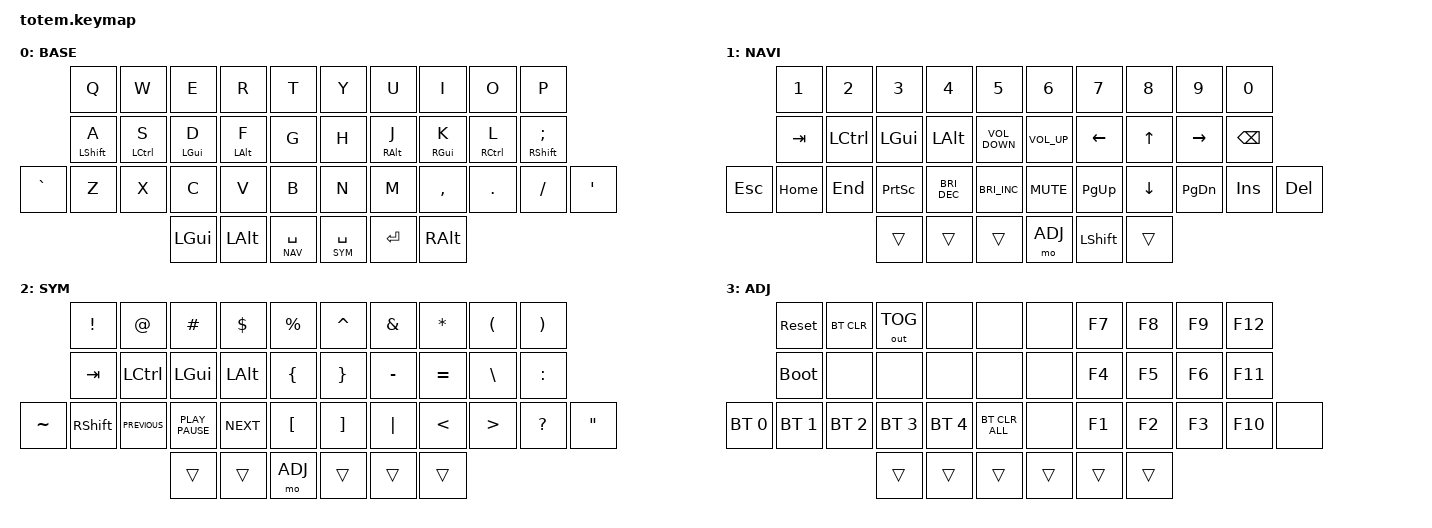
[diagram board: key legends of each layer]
//
//                                                        ▀▀▀▀▀     ▀▀▀▀▀          ▀▀█▀▀
//                                                        ▄▀▀▀▄  ▄  ▄▀▀▀▄  ▄  ▄▀▀▀▄  █  ▄▀▀▀▄
//                                                        █   █  █  █   █  █  █   █  █  █   █
//                                                         ▀▀▀   █   ▀▀▀   █   ▀▀▀   ▀   ▀▀▀
//                                                               █      ▄▄▄█▄▄▄    █   █  
//                                                               ▀      █  █  █     █▄█
//                                                             ▀▀▀▀▀    █  █  █      ▀
//                                                                      ▀  ▀  ▀
//
// ▄▄▄▄▄▄▄▄▄▄▄▄▄▄▄▄▄▄▄▄▄▄▄▄▄▄▄▄▄▄▄▄▄▄▄▄▄▄▄▄▄▄▄▄▄▄▄▄▄▄▄▄▄▄▄▄▄▄▄▄▄▄▄▄▄▄▄▄▄▄▄▄▄▄▄▄▄▄▄▄▄▄▄▄▄▄▄▄▄▄▄▄▄▄▄▄▄▄▄▄▄▄▄▄▄▄▄▄▄▄▄▄▄▄▄▄▄▄▄▄▄▄▄▄▄▄▄▄▄▄▄▄▄▄▄▄▄▄▄▄▄▄▄▄▄▄▄▄▄

#include <behaviors.dtsi>
#include <dt-bindings/zmk/bt.h>
#include <dt-bindings/zmk/keys.h>
#include <dt-bindings/zmk/outputs.h>

#define BASE 0
#define NAV  1
#define SYM  2
#define ADJ  3

&mt {
    quick-tap-ms = <100>;
    global-quick-tap;
    flavor = "tap-preferred";
    tapping-term-ms = <170>;
};

/ {
    combos {
        compatible = "zmk,combos";

        combo_esc {
            timeout-ms = <50>;
            key-positions = <0 1>;
            bindings = <&kp ESC>;
        };

        combo_delete {
            bindings = <&kp DEL>;
            key-positions = <9 31>;
        };

        combo_tab {
            bindings = <&kp TAB>;
            key-positions = <10 11>;
        };

        combo_backspace {
            bindings = <&kp BACKSPACE>;
            key-positions = <8 9>;
        };
    };

    keymap {
        compatible = "zmk,keymap";

        // ▄▄▄▄▄▄▄▄▄▄▄▄▄▄▄▄▄▄▄▄▄▄▄▄▄▄▄▄▄▄▄▄▄▄▄▄▄▄▄▄▄▄▄▄▄▄▄▄▄▄▄▄▄▄▄▄▄▄▄▄▄▄▄▄▄▄▄▄▄▄▄▄▄▄▄▄▄▄▄▄▄▄▄▄▄▄▄▄▄▄▄▄▄▄▄▄▄▄▄▄▄▄▄▄▄▄▄▄▄▄▄▄▄▄▄▄▄▄▄▄▄▄▄▄▄▄▄▄▄▄▄▄▄▄▄▄▄▄▄▄▄▄▄▄▄▄▄▄▄

        base_layer {
            // ┏━━━━━━━━━━━━━━━━━━━━━━━━━━━━━━━━━━━━━━━┓

            label = "BASE";

            // ┗━━━━━━━━━━━━━━━━━━━━━━━━━━━━━━━━━━━━━━━┛
            //             ┏━━━━━━━━━━━┳━━━━━━━━━━━┳━━━━━━━━━━━┳━━━━━━━━━━━┳━━━━━━━━━━━┓   ┏━━━━━━━━━━━┳━━━━━━━━━━━┳━━━━━━━━━━━┳━━━━━━━━━━━┳━━━━━━━━━━━┓
            //             ┃     Q     ┃     W     ┃     F     ┃     P     ┃     G     ┃   ┃     J     ┃     L     ┃     U     ┃     Y     ┃     ;     ┃
            //             ┣━━━━━━━━━━━╋━━━━━━━━━━━╋━━━━━━━━━━━╋━━━━━━━━━━━╋━━━━━━━━━━━┫   ┣━━━━━━━━━━━╋━━━━━━━━━━━╋━━━━━━━━━━━╋━━━━━━━━━━━╋━━━━━━━━━━━┫
            //             ┃     A     ┃     R     ┃     S     ┃     T     ┃     D     ┃   ┃     H     ┃     N     ┃     E     ┃     I     ┃     O     ┃
            // ┏━━━━━━━━━━━╋━━━━━━━━━━━╋━━━━━━━━━━━╋━━━━━━━━━━━╋━━━━━━━━━━━╋━━━━━━━━━━━┫   ┣━━━━━━━━━━━╋━━━━━━━━━━━╋━━━━━━━━━━━╋━━━━━━━━━━━╋━━━━━━━━━━━╋━━━━━━━━━━━┓
            // ┃           ┃     Z     ┃     X     ┃     C     ┃     V     ┃     B     ┃   ┃     K     ┃     M     ┃     ,     ┃     .     ┃     /     ┃           ┃
            // ┗━━━━━━━━━━━┻━━━━━━━━━━━┻━━━━━━━━━━━╋━━━━━━━━━━━╋━━━━━━━━━━━╋━━━━━━━━━━━┫   ┣━━━━━━━━━━━╋━━━━━━━━━━━╋━━━━━━━━━━━╋━━━━━━━━━━━┻━━━━━━━━━━━┻━━━━━━━━━━━┛
            //                                     ┃           ┃    TAB    ┃    SPC    ┃   ┃   ENTER   ┃   BSPC    ┃           ┃
            //                                     ┗━━━━━━━━━━━┻━━━━━━━━━━━┻━━━━━━━━━━━┛   ┗━━━━━━━━━━━┻━━━━━━━━━━━┻━━━━━━━━━━━┛

            bindings = <
           &kp Q             &kp W               &kp E           &kp R           &kp T            &kp Y          &kp U            &kp I            &kp O                &kp P
           &mt LEFT_SHIFT A  &mt LEFT_CONTROL S  &mt LEFT_GUI D  &mt LEFT_ALT F  &kp G            &kp H          &mt RIGHT_ALT J  &mt RIGHT_GUI K  &mt RIGHT_CONTROL L  &mt RSHIFT SEMI
&kp GRAVE  &kp Z             &kp X               &kp C           &kp V           &kp B            &kp N          &kp M            &kp COMMA        &kp DOT              &kp SLASH        &kp APOS
                                                 &kp LEFT_GUI    &kp LEFT_ALT    &lt NAV SPACE    &lt SYM SPACE  &kp ENTER        &kp RIGHT_ALT
            >;
        };

        // ▄▄▄▄▄▄▄▄▄▄▄▄▄▄▄▄▄▄▄▄▄▄▄▄▄▄▄▄▄▄▄▄▄▄▄▄▄▄▄▄▄▄▄▄▄▄▄▄▄▄▄▄▄▄▄▄▄▄▄▄▄▄▄▄▄▄▄▄▄▄▄▄▄▄▄▄▄▄▄▄▄▄▄▄▄▄▄▄▄▄▄▄▄▄▄▄▄▄▄▄▄▄▄▄▄▄▄▄▄▄▄▄▄▄▄▄▄▄▄▄▄▄▄▄▄▄▄▄▄▄▄▄▄▄▄▄▄▄▄▄▄▄▄▄▄▄▄▄▄

        nav_layer {
            // ┏━━━━━━━━━━━━━━━━━━━━━━━━━━━━━━━━━━━━━━━┓

            label = "NAVI";

            // ┗━━━━━━━━━━━━━━━━━━━━━━━━━━━━━━━━━━━━━━━┛
            //             ┏━━━━━━━━━━━┳━━━━━━━━━━━┳━━━━━━━━━━━┳━━━━━━━━━━━┳━━━━━━━━━━━┓   ┏━━━━━━━━━━━┳━━━━━━━━━━━┳━━━━━━━━━━━┳━━━━━━━━━━━┳━━━━━━━━━━━┓
            //             ┃           ┃           ┃     UP    ┃           ┃     {     ┃   ┃     }     ┃     7     ┃     8     ┃     9     ┃     +     ┃
            //             ┣━━━━━━━━━━━╋━━━━━━━━━━━╋━━━━━━━━━━━╋━━━━━━━━━━━╋━━━━━━━━━━━┫   ┣━━━━━━━━━━━╋━━━━━━━━━━━╋━━━━━━━━━━━╋━━━━━━━━━━━╋━━━━━━━━━━━┫
            //             ┃   SHIFT   ┃   LEFT    ┃    DOWN   ┃   RIGHT   ┃     [     ┃   ┃     ]     ┃     4     ┃     5     ┃     6     ┃     -     ┃
            // ┏━━━━━━━━━━━╋━━━━━━━━━━━╋━━━━━━━━━━━╋━━━━━━━━━━━╋━━━━━━━━━━━╋━━━━━━━━━━━┫   ┣━━━━━━━━━━━╋━━━━━━━━━━━╋━━━━━━━━━━━╋━━━━━━━━━━━╋━━━━━━━━━━━╋━━━━━━━━━━━┓
            // ┃           ┃           ┃   P UP    ┃  C LOCK   ┃  P DOWN   ┃     (     ┃   ┃     )     ┃     1     ┃     2     ┃     3     ┃     *     ┃           ┃
            // ┗━━━━━━━━━━━┻━━━━━━━━━━━┻━━━━━━━━━━━╋━━━━━━━━━━━╋━━━━━━━━━━━╋━━━━━━━━━━━┫   ┣━━━━━━━━━━━╋━━━━━━━━━━━╋━━━━━━━━━━━╋━━━━━━━━━━━┻━━━━━━━━━━━┻━━━━━━━━━━━┛
            //                                     ┃           ┃    TAB    ┃    SPC    ┃   ┃    DEL    ┃     0     ┃           ┃
            //                                     ┗━━━━━━━━━━━┻━━━━━━━━━━━┻━━━━━━━━━━━┛   ┗━━━━━━━━━━━┻━━━━━━━━━━━┻━━━━━━━━━━━┛

            bindings = <
         &kp NUMBER_1  &kp NUMBER_2      &kp NUMBER_3     &kp NUMBER_4          &kp NUMBER_5            &kp NUMBER_6     &kp N7          &kp N8        &kp N9         &kp NUMBER_0
         &kp TAB       &kp LEFT_CONTROL  &kp LEFT_GUI     &kp LEFT_ALT          &kp C_VOLUME_DOWN       &kp C_VOLUME_UP  &kp LEFT        &kp UP_ARROW  &kp RIGHT      &kp BACKSPACE
&kp ESC  &kp HOME      &kp END           &kp PRINTSCREEN  &kp C_BRIGHTNESS_DEC  &kp C_BRIGHTNESS_INC    &kp K_MUTE       &kp PAGE_UP     &kp DOWN      &kp PAGE_DOWN  &kp INS        &kp DEL
                                         &trans           &trans                &trans                  &mo ADJ          &kp LEFT_SHIFT  &trans
            >;
        };

        // ▄▄▄▄▄▄▄▄▄▄▄▄▄▄▄▄▄▄▄▄▄▄▄▄▄▄▄▄▄▄▄▄▄▄▄▄▄▄▄▄▄▄▄▄▄▄▄▄▄▄▄▄▄▄▄▄▄▄▄▄▄▄▄▄▄▄▄▄▄▄▄▄▄▄▄▄▄▄▄▄▄▄▄▄▄▄▄▄▄▄▄▄▄▄▄▄▄▄▄▄▄▄▄▄▄▄▄▄▄▄▄▄▄▄▄▄▄▄▄▄▄▄▄▄▄▄▄▄▄▄▄▄▄▄▄▄▄▄▄▄▄▄▄▄▄▄▄▄▄

        sim_layer {
            // ┏━━━━━━━━━━━━━━━━━━━━━━━━━━━━━━━━━━━━━━━┓

            label = "SYM";

            // ┗━━━━━━━━━━━━━━━━━━━━━━━━━━━━━━━━━━━━━━━┛
            //             ┏━━━━━━━━━━━┳━━━━━━━━━━━┳━━━━━━━━━━━┳━━━━━━━━━━━┳━━━━━━━━━━━┓   ┏━━━━━━━━━━━┳━━━━━━━━━━━┳━━━━━━━━━━━┳━━━━━━━━━━━┳━━━━━━━━━━━┓
            //             ┃     !     ┃     @     ┃     #     ┃     $     ┃     %     ┃   ┃     ˆ     ┃     &     ┃     Ü     ┃     '     ┃     "     ┃
            //             ┣━━━━━━━━━━━╋━━━━━━━━━━━╋━━━━━━━━━━━╋━━━━━━━━━━━╋━━━━━━━━━━━┫   ┣━━━━━━━━━━━╋━━━━━━━━━━━╋━━━━━━━━━━━╋━━━━━━━━━━━╋━━━━━━━━━━━┫
            //             ┃     Ä     ┃           ┃    SZ     ┃           ┃           ┃   ┃   MUTE    ┃   YEN     ┃   EURO    ┃  POUND    ┃     Ö     ┃
            // ┏━━━━━━━━━━━╋━━━━━━━━━━━╋━━━━━━━━━━━╋━━━━━━━━━━━╋━━━━━━━━━━━╋━━━━━━━━━━━┫   ┣━━━━━━━━━━━╋━━━━━━━━━━━╋━━━━━━━━━━━╋━━━━━━━━━━━╋━━━━━━━━━━━╋━━━━━━━━━━━┓
            // ┃           ┃  EMAIL1   ┃  EMAIL2   ┃           ┃           ┃           ┃   ┃   VOL-    ┃   VOL+    ┃   LAST    ┃   NEXT    ┃     \     ┃           ┃
            // ┗━━━━━━━━━━━┻━━━━━━━━━━━┻━━━━━━━━━━━╋━━━━━━━━━━━╋━━━━━━━━━━━╋━━━━━━━━━━━┫   ┣━━━━━━━━━━━╋━━━━━━━━━━━╋━━━━━━━━━━━╋━━━━━━━━━━━┻━━━━━━━━━━━┻━━━━━━━━━━━┛
            //                                     ┃           ┃    GIF    ┃    ADJ    ┃   ┃           ┃           ┃           ┃
            //                                     ┗━━━━━━━━━━━┻━━━━━━━━━━━┻━━━━━━━━━━━┛   ┗━━━━━━━━━━━┻━━━━━━━━━━━┻━━━━━━━━━━━┛

            bindings = <
           &kp EXCL         &kp AT            &kp HASH          &kp DLLR      &kp PRCNT           &kp CARET          &kp AMPS   &kp ASTERISK   &kp LEFT_PARENTHESIS  &kp RIGHT_PARENTHESIS
           &kp TAB          &kp LEFT_CONTROL  &kp LEFT_GUI      &kp LEFT_ALT  &kp LEFT_BRACE      &kp RIGHT_BRACE    &kp MINUS  &kp EQUAL      &kp BACKSLASH         &kp COLON
&kp TILDE  &kp RIGHT_SHIFT  &kp K_PREVIOUS    &kp K_PLAY_PAUSE  &kp K_NEXT    &kp LEFT_BRACKET    &kp RIGHT_BRACKET  &kp PIPE   &kp LESS_THAN  &kp GREATER_THAN      &kp QUESTION           &kp DOUBLE_QUOTES
                                              &trans            &trans        &mo ADJ             &trans             &trans     &trans
            >;
        };

        // ▄▄▄▄▄▄▄▄▄▄▄▄▄▄▄▄▄▄▄▄▄▄▄▄▄▄▄▄▄▄▄▄▄▄▄▄▄▄▄▄▄▄▄▄▄▄▄▄▄▄▄▄▄▄▄▄▄▄▄▄▄▄▄▄▄▄▄▄▄▄▄▄▄▄▄▄▄▄▄▄▄▄▄▄▄▄▄▄▄▄▄▄▄▄▄▄▄▄▄▄▄▄▄▄▄▄▄▄▄▄▄▄▄▄▄▄▄▄▄▄▄▄▄▄▄▄▄▄▄▄▄▄▄▄▄▄▄▄▄▄▄▄▄▄▄▄▄▄▄

        adjust_layer {
            // ┏━━━━━━━━━━━━━━━━━━━━━━━━━━━━━━━━━━━━━━━┓

            label = "ADJ";

            // ┗━━━━━━━━━━━━━━━━━━━━━━━━━━━━━━━━━━━━━━━┛
            //             ┏━━━━━━━━━━━┳━━━━━━━━━━━┳━━━━━━━━━━━┳━━━━━━━━━━━┳━━━━━━━━━━━┓   ┏━━━━━━━━━━━┳━━━━━━━━━━━┳━━━━━━━━━━━┳━━━━━━━━━━━┳━━━━━━━━━━━┓
            //             ┃   RESET   ┃ BT CLEAR  ┃  OUT TOG  ┃           ┃           ┃   ┃           ┃    F7     ┃    F8     ┃    F9     ┃    F12    ┃
            //             ┣━━━━━━━━━━━╋━━━━━━━━━━━╋━━━━━━━━━━━╋━━━━━━━━━━━╋━━━━━━━━━━━┫   ┣━━━━━━━━━━━╋━━━━━━━━━━━╋━━━━━━━━━━━╋━━━━━━━━━━━╋━━━━━━━━━━━┫
            //             ┃ BOOTLOAD  ┃ BT NEXT   ┃           ┃           ┃           ┃   ┃           ┃    F4     ┃    F5     ┃    F6     ┃    F11    ┃
            // ┏━━━━━━━━━━━╋━━━━━━━━━━━╋━━━━━━━━━━━╋━━━━━━━━━━━╋━━━━━━━━━━━╋━━━━━━━━━━━┫   ┣━━━━━━━━━━━╋━━━━━━━━━━━╋━━━━━━━━━━━╋━━━━━━━━━━━╋━━━━━━━━━━━╋━━━━━━━━━━━┓
            // ┃           ┃           ┃ BT PREV   ┃           ┃           ┃           ┃   ┃           ┃    F1     ┃    F2     ┃    F3     ┃    F10    ┃           ┃
            // ┗━━━━━━━━━━━┻━━━━━━━━━━━┻━━━━━━━━━━━╋━━━━━━━━━━━╋━━━━━━━━━━━╋━━━━━━━━━━━┫   ┣━━━━━━━━━━━╋━━━━━━━━━━━╋━━━━━━━━━━━╋━━━━━━━━━━━┻━━━━━━━━━━━┻━━━━━━━━━━━┛
            //                                     ┃           ┃           ┃           ┃   ┃           ┃           ┃           ┃
            //                                     ┗━━━━━━━━━━━┻━━━━━━━━━━━┻━━━━━━━━━━━┛   ┗━━━━━━━━━━━┻━━━━━━━━━━━┻━━━━━━━━━━━┛

            bindings = <
              &sys_reset    &bt BT_CLR    &out OUT_TOG  &none         &none             &none   &kp F7  &kp F8  &kp F9  &kp F12
              &bootloader   &none         &none         &none         &none             &none   &kp F4  &kp F5  &kp F6  &kp F11
&bt BT_SEL 0  &bt BT_SEL 1  &bt BT_SEL 2  &bt BT_SEL 3  &bt BT_SEL 4  &bt BT_CLR_ALL    &none   &kp F1  &kp F2  &kp F3  &kp F10  &none
                                          &trans        &trans        &trans            &trans  &trans  &trans
            >;
        };
    };
};
